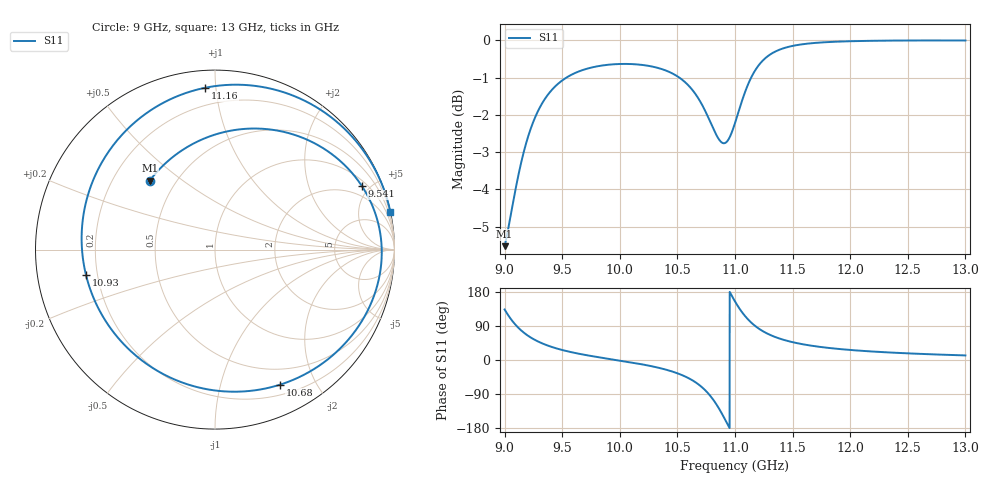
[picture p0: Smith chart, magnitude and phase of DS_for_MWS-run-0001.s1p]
! TOUCHSTONE file generated by CST DESIGN STUDIO
! Date and time: Tue Feb  4 18:08:09 2025
! Project name: C:\Work\MatlabApps\UnitCellOptimizationMatlab\CST\unitcell.cst
! Tree item: Tasks\Sweep1\SPara1\S-Parameters
! Header version: 2024
! Port assignment regex: !\s*Touchstone port\s*([0-9]+)\s*=\s*(CST MWS port|CST DES external port|CST DES block port)\s*(.+)\s* \(\"(.*)\"\)(\s*mode\s*([0-9]+))?.*
! Touchstone port assignment:
! Touchstone port 1 = CST DES external port 1 ("")
# GHz S MA R 50
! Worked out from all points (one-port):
!   4001 points, 9 GHz to 13 GHz, reference 50 ohm
!   lowest |S11| = -5.5 dB at 9 GHz (marker M1), VSWR 3.25, Z = 17.9 + j19.2 ohm
!   |S11| at or under -10 dB: nowhere
!   S11 on the Smith chart (normalised r, x): 9 GHz: 0.36, +0.38; 9.541 GHz: 1.30, +4.49; 10.68 GHz: 0.31, -1.54; 10.93 GHz: 0.16, -0.10; 11.16 GHz: 0.10, +0.93; 13 GHz: 0.03, +9.45
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9  0.5292 133.4
9.085  0.6193 96.3
9.17  0.7117 71.4
9.318  0.819 45.0
9.5  0.8832 26.4
9.541  0.8919 23.3
9.745  0.9185 10.9
10  0.9294 -1.6
10.295  0.921 -17.6
10.5  0.8946 -35.1
10.599  0.8687 -48.3
10.683  0.8351 -64.4
10.761  0.7921 -86.0
10.821  0.7556 -109.1
10.875  0.7314 -135.4
10.934  0.7324 -168.7
10.967  0.7489 172.4
11  0.7742 154.5
11.039  0.8094 135.6
11.077  0.8436 119.8
11.16  0.9031 93.6
11.232  0.936 77.8
11.309  0.9579 65.6
11.5  0.9828 47.0
11.707  0.9922 35.8
12  0.9971 26.5
12.5  0.9994 17.5
13  0.9994 12.1
